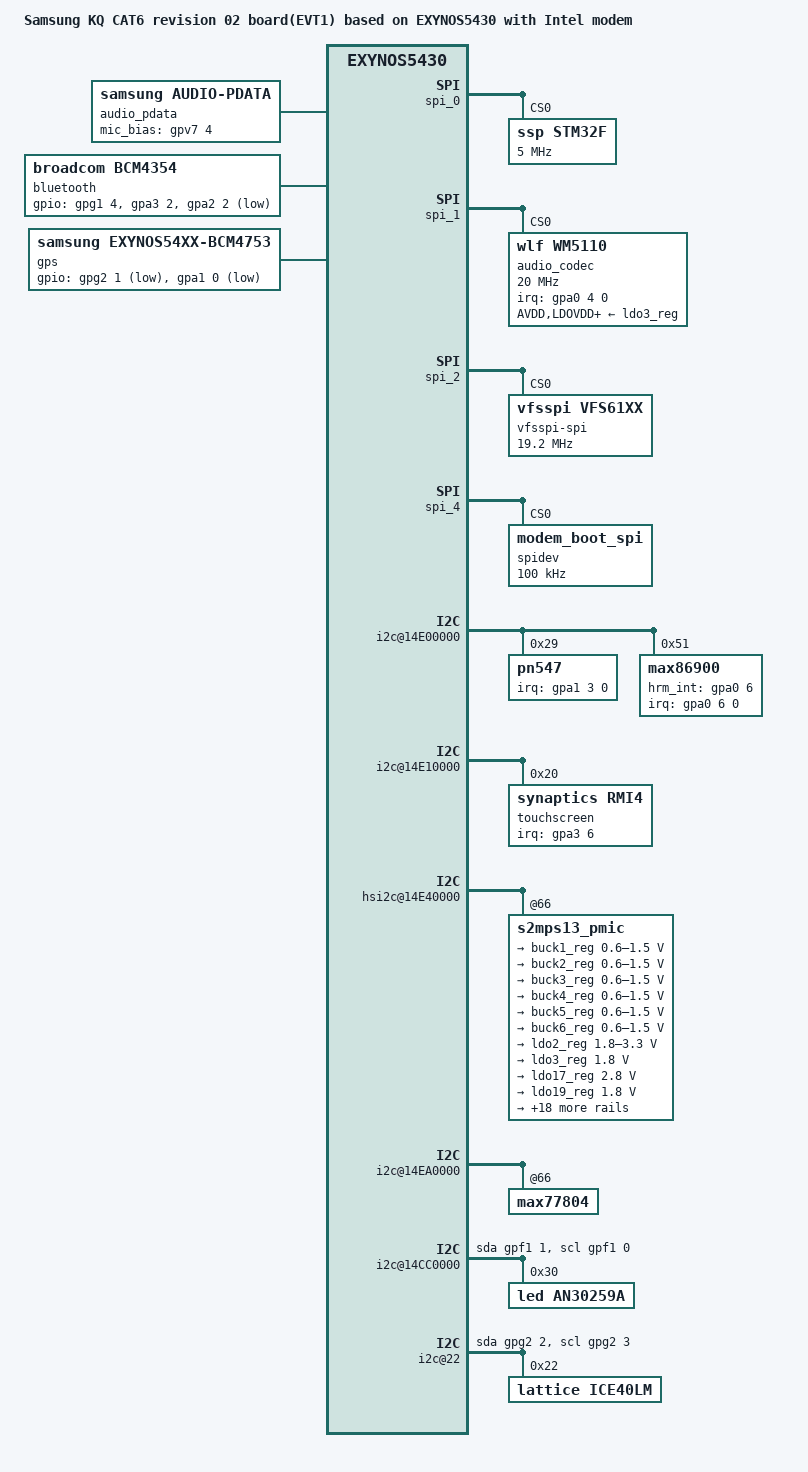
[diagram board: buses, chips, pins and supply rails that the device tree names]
/*
 * SAMSUNG UNIVERSAL5430 board device tree source
 *
 * Copyright (c) 2013 Samsung Electronics Co., Ltd.
 *		http://www.samsung.com
 *
 * This program is free software; you can redistribute it and/or modify
 * it under the terms of the GNU General Public License version 2 as
 * published by the Free Software Foundation.
*/

/dts-v1/;
#include "exynos5430-kq_common.dtsi"
#include "exynos5430-kcat6_gpio_02.dtsi"
#include "exynos5430-kcat6_battery.dtsi"
#include "exynos5430-kcat6_eur-modem-xmm7260.dtsi"
#include "exynos5430-kcat6_mhl2x.dtsi"

/ {
	model = "Samsung KQ CAT6 revision 02 board(EVT1) based on EXYNOS5430 with Intel modem";
	model_info-chip = <5430>;
	model_info-platform = "kcat6";
	model_info-subtype = "kcat6_eur_open";
	model_info-hw_rev = <2>;
	model_info-hw_rev_end = <255>; /* If add new dts file for new hw , it is set to <x>. x is suppored max system revision by this dts */
	compatible = "samsung,KQ CAT6 EUR,r02", "samsung,exynos5430";

	dwmmc2@15560000 {
		supports-sdr104-mode;
		vmmc-en-gpio = <&gpf3 4 0x1>;
	};

	pinctrl@14CC0000 {
		spi0_bus: spi0-bus {
			samsung,pin-drv = <3>;
		};
		spi0_cs: spi0-cs {
			samsung,pin-drv = <3>;
		};
	};

	pinctrl@15690000 {
		sd2_bus1: sd2-bus-width1 {
			samsung,pin-drv = <1>;
		};
		sd2_bus4: sd2-bus-width4 {
			samsung,pin-drv = <1>;
		};
	};

	spi_0: spi@14d20000 {
		#address-cells = <1>;
		#size-cells = <0>;
		pinctrl-names = "default";
		pinctrl-0 = <&spi0_bus>;
		pinctrl-1 = <&spi0_cs>;

		STM32F@0 {
			compatible = "ssp,STM32F";
			reg = <0>;
			spi-max-frequency = <5000000>;
			pinctrl-names = "default";
			pinctrl-0 = <&ssp_irq &ssp_irq2 &ssp_ap_int &ssp_reset>;

			gpio-controller;
			#gpio-cells = <2>;
			ssp-irq = <&gpa3 3 0x01>;
			ssp-irq2 = <&gpa3 4 0x00>;
			ssp-ap-int = <&gpa3 7 0x00>;
			ssp-reset = <&gpd4 0 0x00>;
			ssp-acc-position = <0>;
			ssp-mag-position = <6>;
			ssp-sns-combination = <0>;
			ssp-ap-rev = <2>;
			ssp-mag-array = <10000 0 0 0 10000 0 0 0 10000>; /* Only for YAS532 */

			controller-data {
				cs-gpio = <&gpd8 1 0>;
				samsung,spi-feedback-delay = <0>;
				};
			};
	};

	spi_1: spi@14d30000 {
		#address-cells = <1>;
		#size-cells = <0>;
		pinctrl-names = "default";
		pinctrl-0 = <&spi1_bus>;

		audio_codec: wm5110@0 {
			compatible = "wlf,wm5110";
			reg = <0x0>;
			spi-max-frequency = <20000000>;
			interrupts = <4 0 0>;
			interrupt-parent = <&gpa0>;

			gpio-controller;
			#gpio-cells = <2>;

			pinctrl-names ="default";
			pinctrl-0 = <&codec_reset &codec_ldoena &audio_ctrl>;

			wlf,reset = <&gpv7 3 0>;
			wlf,ldoena = <&gpf0 0 0>;
			wlf,init-mic-delay = <30>;
			wlf,micd-detect-debounce = <300>;
			wlf,micd-bias-start-time = <0x1>;
			wlf,micd-rate = <0x7>;
			wlf,micd-dbtime = <0x1>;
			wlf,micd-timeout = <1000>;
			wlf,micd-force-micbias;
			wlf,micd-ranges = <
				139 226
				295 115
				752 114
				1257 217
			>;

			wlf,micd-configs = <
				0x0 1 0
			>;

			wlf,micbias1 = <2800 0 1 0 0>;
			wlf,micbias2 = <1800 0 1 0 0>;
			wlf,micbias3 = <1800 0 1 0 0>;

			wlf,gpio-defaults = <
				0xA101
				0xA101
				0xA101
				0xA101
				0x8101
			>;

			wlf,gpsw = <0x3>;
			wlf,micd-software-compare;
			wlf,micd-open-circuit-declare = <1>;

			wlf,max-channels-clocked = <2 0 0>;
			/* 0:MICVDD 1:MICBIAS1 2:MICBIAS2 3:MICBIAS3 */
			wlf,dmic-ref = <2 1 3 0>;
			/* 1st cell:IN1 2rd cell:IN2 3nd cell:IN3 4th cell:IN4 */
			wlf,inmode = <2 0 2 0>;

			AVDD-supply = <&ldo3_reg>;
			LDOVDD-supply = <&ldo3_reg>;
			DBVDD1-supply = <&ldo3_reg>;

			CPVDD-supply = <&ldo3_reg>;
			DBVDD2-supply = <&ldo3_reg>;
			DBVDD3-supply = <&ldo3_reg>;
			SPKVDDL-supply = <&ldo3_reg>;
			SPKVDDR-supply = <&ldo3_reg>;

			adsps {
				#address-cells = <1>;
				#size-cells = <0>;

				adsp@1100 {
					reg = <0x1100>;
					firmware {
						EDAC {
							wlf,wmfw-file = "edac";
							wlf,bin-file = "edac";
						};
						TRACE {
							wlf,wmfw-file = "trace";
							wlf,compr-caps = <1 8 0x4 1 8000 16000 24000>;
						};
					};
				};
				adsp@1200 {
					reg = <0x1200>;
					firmware {
						TX_NB {
							wlf,wmfw-file = "tx-nb";
						};
						TX_WB {
							wlf,wmfw-file = "tx-wb";
						};
						TX_SWB_INTERVIEW {
							wlf,wmfw-file = "tx-swb";
						};
						TX_SWB_CONVERSATION {
							wlf,wmfw-file = "tx-swb";
						};
					};
				};
				adsp@1300 {
					reg = <0x1300>;
					firmware {
						TX_NB {
							wlf,wmfw-file = "tx-nb";
							wlf,bin-file = "tx-nb";
						};
						TX_WB {
							wlf,wmfw-file = "tx-wb";
							wlf,bin-file = "tx-wb";
						};
						TX_SWB_INTERVIEW {
							wlf,wmfw-file = "tx-swb";
							wlf,bin-file = "tx-swb-interview";
						};
						TX_SWB_CONVERSATION {
							wlf,wmfw-file = "tx-swb";
							wlf,bin-file = "tx-swb-conversation";
						};
						VOICECONTROL {
							wlf,wmfw-file = "ez2-control";
							wlf,bin-file = "ez2-control";
						};
						LPSD {
							wlf,wmfw-file = "ez2-control";
							wlf,bin-file = "lpsd-control";
						};
					};
				};
				adsp@1400 {
					reg = <0x1400>;
					firmware {
						RX_NB {
							wlf,wmfw-file = "rx-anc-nb";
							wlf,bin-file = "rx-anc-nb";
						};
						RX_WB {
							wlf,wmfw-file = "rx-anc-wb";
							wlf,bin-file = "rx-anc-wb";
						};
					};
				};
			};
			controller-data {
				cs-gpio = <&gpd6 3 0>;
				samsung,spi-feedback-delay = <0>;
			};
		};
	};

	pinctrl@10580000 {
		btp_irq: btp-irq {
			samsung,pins = "gpa1-7";
			samsung,pin-function = <0>;
			samsung,pin-pud = <3>;
			samsung,pin-drv = <3>;
		};
		btp_irqsleep: btp-irqsleep {
			samsung,pins = "gpa1-7";
			samsung,pin-function = <0>;
			samsung,pin-pud = <1>;
			samsung,pin-drv = <0>;
		};
	};
	pinctrl@14CC0000 {
		ocp_flag: ocf-flag {
			samsung,pins = "gpf0-3";
			samsung,pin-function = <0>;
			samsung,pin-pud = <3>;
			samsung,pin-drv = <3>;
		};
		ocp_en: ocp-en {
			samsung,pins = "gpd4-1";
			samsung,pin-function = <1>;
			samsung,pin-pud = <1>;
			samsung,pin-drv = <0>;
		};
		btp_reset: btp-reset {
			samsung,pins = "gpf5-2";
			samsung,pin-function = <1>;
			samsung,pin-pud = <1>;
			samsung,pin-drv = <0>;
		};
		btp_ldo: btp-ldo {
			samsung,pins = "gpf4-0";
			samsung,pin-function = <1>;
			samsung,pin-pud = <1>;
			samsung,pin-drv = <0>;
		};
		spi2_bus: spi2-bus {
			samsung,pin-drv = <3>;
		};

		spi2_cs: spi2-cs {
			samsung,pin-drv = <3>;
		};
	};
	spi_2: spi@14d40000 {
		/delete-property/ dma-mode;
		/delete-property/ dmas;
		/delete-property/ dma-names;
		#address-cells = <1>;
		#size-cells = <0>;
		pinctrl-names = "default";
		pinctrl-0 = <&spi2_bus>;

		vfsspi-spi@0 {
			compatible = "vfsspi,vfs61xx";
			reg = <0>;
			spi-max-frequency = <19200000>;
			pinctrl-names = "default", "sleep", "idle";
			pinctrl-0 = <&btp_irqsleep &btp_reset &btp_ldo &ocp_flag &ocp_en>;
			pinctrl-1 = <&btp_irqsleep>;
			pinctrl-2 = <&btp_irq>;

			gpio-controller;
			#gpio-cells = <2>;

			vfsspi-sleepPin = <&gpf5 2 0x00>;
			vfsspi-drdyPin = <&gpa1 7 0x00>;
			vfsspi-ldoPin = <&gpf4  0 0x00>;
			vfsspi-ocpen = <&gpd4  1 0x00>;
			/* vfsspi-ocpflag = <&gpf0 3 0x00>; */
			vfsspi-orient = <1>;
			vfsspi-ldocontrol = <1>;
			vfsspi-irqpincon = <2>; /* 1: K3G(5422), 2: KQ(5430) */

			controller-data {
				cs-gpio = <&gpd5 1 0 0 3>;
				samsung,spi-feedback-delay = <0>;
			};
		};
	};

	spi_4: spi@141b0000 {
		fimc-is-spi;
		domain = "cam1";
		samsung,power-domain = <&pd_cam1>;

		#address-cells = <1>;
		#size-cells = <0>;

		spidev@0 {
			#address-cells = <1>;
			#size-cells = <1>;
			compatible = "modem_boot_spi";
			reg = <0x0>;
			spi-max-frequency = <100000>;

			controller-data {
				samsung,spi-feedback-delay = <0>;
				samsung,spi-chip-select-mode = <1>;
			};
		};
	};

	mipi-lli@10F24000 {
		reg = <0x10F24000 0x4000>,
		      <0x10F34000 0x4000>,
		      <0x10FD0000 0x2000>,
		      <0x105C0720 0x4>;
		modem-name = "xmm7260";
		modems {
			xmm7260 {
				/* shared memory size for IPC */
				shdmem_size = <8>;
				/* is the shdmem allocated by ion */
				is_ion_alloc = <1>;
				/* disable scrambler */
				scrambler = <0>;
				/* do not control automode by AP */
				automode = <0>;
			};
		};
		mphy {
			modem-name = "xmm7260";
			modems {
				xmm7260 {
					/* initial-gear is HS-G1 */
					init-gear = <2 1 1>;
					/* use shared reference clock for MPHY */
					shd-refclk = <1>;
				};
			};
		};
	};

	audio_pdata {
		compatible = "samsung,audio-pdata";

		mic_bias_gpio = <&gpv7 4 0>;
		imp_shift = <56>;
		status = "okay";
	};

	pinctrl@14CC0000 {
		codec_reset: codec-reset {
			samsung,pins ="gpv7-3";
			samsung,pin-function = <1>;
			samsung,pin-pud = <1>;
			samsung,pin-con-pdn =<3>;
			samsung,pin-pud-pdn = <1>;
		};
		codec_ldoena: codec-ldoena {
			samsung,pins ="gpf0-0";
			samsung,pin-con-pdn =<3>;
		};
		audio_ctrl: audio-ctl {
			samsung,pins ="gpv7-4";
			samsung,pin-con-pdn =<3>;
		};
	};

	i2c@14E00000 {
		samsung,i2c-sda-delay = <100>;
		samsung,i2c-max-bus-freq = <400000>;
		#address-cells = <1>;
		#size-cells = <0>;
		status = "okay";

		pn547@2b {
			compatible = "pn547";
			reg = <0x29>;

			interrupts = <3 0 0>;
			interrupt-parent = <&gpa1>;

			pn547-en = <&gpf1 4 0>;
			pn547-irq = <&gpa1 3 0>;
			pn547-firmware = <&gpj0 2 0>;
			pn547-clk-req = <&gpa0 0 0xf>;
			pn547-clk-use = <2>;
			pinctrl-names = "default";
			pinctrl-0 = <&fimc_is_ch1_mclk>;
			clock-names = "sclk_isp_sensor1",
						"mout_sclk_isp_sensor1",
						"dout_sclk_isp_sensor1_a",
						"dout_sclk_isp_sensor1_b",
						"gate_top_cam1";
			clocks = <&clock 34>,
					<&clock 3067>,
					<&clock 4092>,
					<&clock 4093>,
					<&clock 2780>;
		};

		max86900@51 {
			compatible = "max86900";
			reg = <0x51>;
			pinctrl-names = "default";
			pinctrl-0 = <&hrm_int>;
			interrupt-parent = <&gpa0>;
			interrupts = <6 0 0>;
			max86900,hrm_int-gpio = <&gpa0 6 0x00>;
			max86900,hrm_vled = "V_HRM_3.3V";
		};
	};

	pinctrl@10580000 {
		ok_sw: ok-sw {
			samsung,pins = "gpa0-3";
			samsung,pin-function = <0>;
			samsung,pin-pud = <3>;
			samsung,pin-drv = <0>;
		};
		attn_irq: attn-irq {
			samsung,pins = "gpa3-6";
			samsung,pin-function = <0xf>;
			samsung,pin-pud = <0>;
			samsung,pin-drv = <0>;
		};
		attn_input: attn-input {
			samsung,pins = "gpa3-6";
			samsung,pin-function = <0>;
			samsung,pin-pud = <1>;
			samsung,pin-drv = <0>;
		};
	};

	pinctrl@14CE0000 {
		i2c1_bus: i2c1-bus {
			samsung,pins = "gpj1-1", "gpj1-0";
			samsung,pin-function = <3>;
			samsung,pin-pud = <0>;
			samsung,pin-drv = <0>;
		};
		i2c_pdn_off: i2c-pdn_off {
			samsung,pins = "gpj1-1", "gpj1-0";
			samsung,pin-con-pdn = <2>;
			samsung,pin-pud-pdn = <1>;
		};
	};

	i2c@14E10000 {
		samsung,i2c-sda-delay = <100>;
		samsung,i2c-max-bus-freq = <400000>;
		status = "okay";
		touchscreen@20 {
			compatible = "synaptics,rmi4";
			reg = <0x20>;
			pinctrl-names = "on_state", "off_state";
			pinctrl-0 = <&attn_irq>;
			pinctrl-1 = <&attn_input &i2c_pdn_off>;
			synaptics,irq_gpio = <&gpa3 6 0>;
			synaptics,irq_type = <8200>;
			synaptics,max_coords = <1079 1919>;	/* x y */
			synaptics,num_lines = <28 16>;		/* rx tx */
			synaptics,regulator_dvdd = "tsp_io";
			synaptics,regulator_avdd = "tsp_avdd";
			synaptics,firmware_name = "tsp_synaptics/synaptics_s5100_a3_k_FHD.fw";
			synaptics,project_name = "KCAT6", "G901F";
		};
	};

	hsi2c@14E40000 {
		s2mps13_pmic@66 {
			regulators {
				buck1_reg: BUCK1 {
					regulator-name = "vdd_mif";
					regulator-min-microvolt = <600000>;
					regulator-max-microvolt = <1500000>;
					regulator-always-on;
					regulator-boot-on;
					regulator-ramp-delay = <12000>;
					regulator-initial-mode = <1>;
				};

				buck2_reg: BUCK2 {
					regulator-name = "vdd_eagle";
					regulator-min-microvolt = <600000>;
					regulator-max-microvolt = <1500000>;
					regulator-always-on;
					regulator-boot-on;
					regulator-ramp-delay = <12000>;
					regulator-initial-mode = <1>;
				};

				buck3_reg: BUCK3 {
					regulator-name = "vdd_kfc";
					regulator-min-microvolt = <600000>;
					regulator-max-microvolt = <1500000>;
					regulator-always-on;
					regulator-boot-on;
					regulator-ramp-delay = <12000>;
					regulator-initial-mode = <1>;
				};

				buck4_reg: BUCK4 {
					regulator-name = "vdd_int";
					regulator-min-microvolt = <600000>;
					regulator-max-microvolt = <1500000>;
					regulator-always-on;
					regulator-boot-on;
					regulator-ramp-delay = <12000>;
					regulator-initial-mode = <1>;
				};

				buck5_reg: BUCK5 {
					regulator-name = "vdd_disp_cam0";
					regulator-min-microvolt = <600000>;
					regulator-max-microvolt = <1500000>;
					regulator-always-on;
					regulator-boot-on;
					regulator-ramp-delay = <12000>;
					regulator-initial-mode = <1>;
				};

				buck6_reg: BUCK6 {
					regulator-name = "vdd_g3d";
					regulator-min-microvolt = <600000>;
					regulator-max-microvolt = <1500000>;
					regulator-always-on;
					regulator-boot-on;
					regulator-ramp-delay = <12000>;
					regulator-initial-mode = <1>;
				};

				ldo2_reg: LDO2 {
					regulator-name = "vqmmc";
					regulator-min-microvolt = <1800000>;
					regulator-max-microvolt = <3300000>;
					regulator-boot-on;
					regulator-ramp-delay = <12000>;
					regulator-initial-mode = <1>;
				};

				ldo3_reg: LDO3 {
					regulator-name = "VDD1_E_1.8V_AP";
					regulator-min-microvolt = <1800000>;
					regulator-max-microvolt = <1800000>;
					regulator-always-on;
					regulator-initial-mode = <3>;
				};

				ldo17_reg: LDO17 {
					regulator-name = "vmmc";
					regulator-min-microvolt = <2800000>;
					regulator-max-microvolt = <2800000>;
				};

				ldo19_reg: LDO19 {
					regulator-name = "VDDA_1.8V_COMP";
					regulator-min-microvolt = <1800000>;
					regulator-max-microvolt = <1800000>;
				};

				ldo21_reg: LDO21 {
					regulator-name = "VT_CAM_1.8V";
					regulator-min-microvolt = <1800000>;
					regulator-max-microvolt = <1800000>;
				};

				ldo22_reg: LDO22 {
					regulator-name = "CAM_IO_1.8V_AP";
					regulator-min-microvolt = <1800000>;
					regulator-max-microvolt = <1800000>;
				};

				ldo23_reg: LDO23 {
					regulator-name = "CAM_SEN_CORE_1.2V_AP";
					regulator-min-microvolt = <1200000>;
					regulator-max-microvolt = <1200000>;
				};

				ldo24_reg: LDO24 {
					regulator-name = "VT_CAM_1.2V";
					regulator-min-microvolt = <1200000>;
					regulator-max-microvolt = <1200000>;
				};

				ldo25_reg: LDO25 {
					regulator-name = "CAM_SEN_A2.8V_AP";
					regulator-min-microvolt = <2800000>;
					regulator-max-microvolt = <2950000>;
				};

				ldo26_reg: LDO26 {
					regulator-name = "CAM_AF_2.8V_AP";
					regulator-min-microvolt = <2800000>;
					regulator-max-microvolt = <2800000>;
				};

				ldo27_reg: LDO27 {
					regulator-name = "VCC_3.0V_LCD_AP";
					regulator-min-microvolt = <3000000>;
					regulator-max-microvolt = <3000000>;
					regulator-boot-on;
				};

				ldo28_reg: LDO28 {
					regulator-name = "VCC_1.8V_LCD_AP";
					regulator-min-microvolt = <1800000>;
					regulator-max-microvolt = <1800000>;
					regulator-boot-on;
				};

				ldo29_reg: LDO29 {
					regulator-name = "VT_CAM_2.8V";
					regulator-min-microvolt = <2800000>;
					regulator-max-microvolt = <2800000>;
				};

				ldo30_reg: LDO30 {
					regulator-name = "tsp_avdd";
					regulator-min-microvolt = <3300000>;
					regulator-max-microvolt = <3300000>;
				};

				ldo31_reg: LDO31 {
					regulator-name = "tsp_io";
					regulator-min-microvolt = <1800000>;
					regulator-max-microvolt = <1800000>;
				};

				ldo32_reg: LDO32 {
					regulator-name = "vtouch_1.8v";
					regulator-min-microvolt = <1800000>;
					regulator-max-microvolt = <1800000>;
				};

				ldo33_reg: LDO33 {
					regulator-name = "vtouch_3.3v";
					regulator-min-microvolt = <3300000>;
					regulator-max-microvolt = <3300000>;
				};

				ldo34_reg: LDO34 {
					regulator-name = "VCC_1.8V_MHL";
					regulator-min-microvolt = <1800000>;
					regulator-max-microvolt = <1800000>;
				};

				ldo36_reg: LDO36 {
					regulator-name = "VSIL_1.2V";
					regulator-min-microvolt = <1200000>;
					regulator-max-microvolt = <1200000>;
				};

				ldo38_reg: LDO38 {
					regulator-name = "VCC_3.0V_MOTOR_AP";
					regulator-min-microvolt = <3000000>;
					regulator-max-microvolt = <3000000>;
				};

				ldo39_reg: LDO39 {
					regulator-name = "V_HRM_1.8V";
					regulator-min-microvolt = <1800000>;
					regulator-max-microvolt = <1800000>;
				};

				ldo40_reg: LDO40 {
					regulator-name = "V_HRM_3.3V";
					regulator-min-microvolt = <3300000>;
					regulator-max-microvolt = <3300000>;
				};
			};
		};
	};

	pinctrl@14CC0000 {
		vibetonz_pwm: vibetonz-pwm {
		      samsung,pins = "gpd2-4";
		      samsung,pin-function = <2>;
		      samsung,pin-pud = <0>;
		      samsung,pin-drv = <0>;
	      };
	};
	i2c@14EA0000 {
		samsung,i2c-sda-delay = <100>;
		samsung,i2c-max-bus-freq = <400000>;
		status = "okay";
		max77804@66 {
			status = "okay";
		};
		max77828@49 {
			status = "disabled";
		};
	};

	pinctrl@114B0000 {
		uart_aud_rts: uart-aud-rts {
			samsung,pins = "gpz1-3";
			samsung,pin-function = <2>;
			samsung,pin-pud = <0>;
			samsung,pin-con-pdn = <1>;
			samsung,pin-pud-pdn = <0>;
		};

		uart_aud_cts: uart-aud-cts {
			samsung,pins = "gpz1-2";
			samsung,pin-function = <2>;
			samsung,pin-pud = <0>;
			samsung,pin-con-pdn = <2>;
			samsung,pin-pud-pdn = <0>;
		};

		uart_aud_rx: uart-aud-rx {
			samsung,pins = "gpz1-1";
			samsung,pin-function = <2>;
			samsung,pin-pud = <0>;
			samsung,pin-con-pdn = <2>;
			samsung,pin-pud-pdn = <0>;
		};

		uart_aud_tx: uart-aud-tx {
			samsung,pins = "gpz1-0";
			samsung,pin-function = <2>;
			samsung,pin-pud = <0>;
			samsung,pin-con-pdn = <1>;
			samsung,pin-pud-pdn = <0>;
		};
	};

	serial@11460000 {
		pinctrl-0 = <&uart_aud_rts &uart_aud_cts &uart_aud_rx &uart_aud_tx>;
                pinctrl-1 = <&uart_aud_rx &uart_aud_tx &uart_aud_bus_idle>;
	};

/*
			samsung,pins = "gpa0-0";

			samsung,pin-function = <2>;
			0 : input, 1 : output 2 : special_function

			samsung,pin-pud = <0>;
			0 : reserved 1 : pull down 2 : reserved 3 : pull up

			samsung,pin-con-pdn = <2>;
			0 : output0 1 : output1 2: input 3: previous state

			samsung,pin-pud-pdn = <0>;
			0 : pull up/down disable 1 : pull down 2 : reserved 3 : pull up
*/

	pinctrl@14CC0000 {
		cfg_en: cfg-en {
			samsung,pins ="gpg1-4";
			samsung,pin-function = <1>;
			samsung,pin-pud = <1>;
			samsung,pin-con-pdn = <3>;
			samsung,pin-pud-pdn = <1>;
		};
	};

	pinctrl@10580000{
		cfg_hostwake: cfg-hostwake {
			samsung,pins = "gpa2-2";
			samsung,pin-function = <0>;
			samsung,pin-pud = <2>;
			samsung,pin-con-pdn = <2>;
			samsung,pin-pud-pdn = <0>;
		};

		cfg_btwake: cfg-btwake {
			samsung,pins = "gpa3-2";
			samsung,pin-function = <1>;
			samsung,pin-pud = <1>;
			samsung,pin-con-pdn = <0>;
			samsung,pin-pud-pdn = <1>;
		};
	};

	bluetooth {
		compatible = "broadcom,bcm4354";

		gpios = <&gpg1 4 0	/*BT_EN*/
				&gpa3 2 0	/*BT_WAKE*/
				&gpa2 2 0xF	/*BT_HOST_WAKE*/ >;

		pinctrl-names = "default";
		pinctrl-0=<&cfg_hostwake &cfg_btwake &cfg_en>;
		status = "okay";
	};

	pinctrl@14CC0000 {
		uart0_rts: uart0-rts {
			samsung,pins = "gpd0-3";
			samsung,pin-function = <2>;
			samsung,pin-pud = <0>;
			samsung,pin-con-pdn = <1>;
			samsung,pin-pud-pdn = <0>;
		};

		uart0_cts: uart0-cts {
			samsung,pins = "gpd0-2";
			samsung,pin-function = <2>;
			samsung,pin-pud = <0>;
			samsung,pin-con-pdn = <2>;
			samsung,pin-pud-pdn = <1>;
		};

		uart0_tx: uart0-tx {
			samsung,pins = "gpd0-1";
			samsung,pin-function = <2>;
			samsung,pin-pud = <0>;
			samsung,pin-con-pdn = <2>;
			samsung,pin-pud-pdn = <3>;		};

		uart0_rx: uart0-rx {
			samsung,pins = "gpd0-0";
			samsung,pin-function = <2>;
			samsung,pin-pud = <3>;
			samsung,pin-con-pdn = <2>;
			samsung,pin-pud-pdn = <3>;
		};
	};

	serial@14C10000 {
		pinctrl-0 = <&uart0_rts &uart0_cts &uart0_tx &uart0_rx>;
	};

	gps {
		compatible = "samsung,exynos54xx-bcm4753";
		gpios = <&gpg2 1 0x1
			      &gpa1 0 0xf
				>;
		status = "okay";
	};

	usb_notifier {
		gpios_redriver_en = <&gpf3 2 0x1>; /* USB3.0_REDRIVER_EN */
	};

	i2c@14CC0000 {
		compatible = "i2c-gpio";
		gpios = <&gpf1 1 0 /* sda */
			&gpf1 0 0 /* scl */
			>;
		i2c-gpio,delay-us = <2>;
		#address-cells = <1>;
		#size-cells = <0>;
		status = "okay";
		an30259a@30 {
			compatible = "led,an30259a";
			reg = <0x30>;
			rgb-name = "led_r", "led_g", "led_b";
			rgb-brightness = <0x0 0x0 0x0>;
			rgb-maxbrightness = <0x28 0x28 0x28>;
			rgb-flags = <0 0 0>;
		};
	};

	i2c@22 {
		compatible = "i2c-gpio";
		gpios = <&gpg2 2 0 /* sda */
			&gpg2 3 0 /* scl */
			>;
		i2c-gpio,delay-us = <2>;
		#address-cells = <1>;
		#size-cells = <0>;
		status = "okay";
		ice40lm@22 {
			compatible = "lattice,ice40lm";
			reg = <0x22>;
			ice40lm,creset_b = <&gpv7 1 0>;
			ice40lm,cdone = <&gpf0 1 0>;
			ice40lm,irda_irq = <&gpf0 4 0>;
			ice40lm,spi_si_sda = <&gpg2 2 0>;
			ice40lm,spi_clk_scl = <&gpg2 3 0>;
			ice40lm,spi_en_rstn = <&gpd4 2 0>;
			ice40lm,ir_en = <&gpf2 2 0>;
			ice40lm,power = "LDO";
			clocks = <&clock 5050>;
			clock-names = "gate_clkout";
		};
	};

	sec_thermistor {
		adc_array = <225 234 244 253 263 272 284 295 307 318
			330 344 358 371 385 399 415 432 448 465
			481 500 519 538 557 576 594 613 631 650
			668 696 724 752 780 808 834 860 887 913
			939 970 1002 1033 1065 1096 1133 1169 1206 1242
			1279 1323 1366 1410 1453 1497 1538 1578 1619 1659
			1700 1748 1796 1845 1893 1941 1988 2034 2081 2127
			2174 2223 2271 2320 2368 2417 2465 2513 2560 2608
			2656 2702 2747 2793 2839 2884 2927 2969 3012 3055
			3098 3136 3174 3213 3251 3289 3329 3370 3410 3450
			3490 3530 3569 3609 3648 3688 3727 3767 3804 3843
			3882>;
		temp_array = <900 890 880 870 860 850 840 830 820 810
			800 790 780 770 760 750 740 730 720 710
			700 690 680 670 660 650 640 630 620 610
			600 590 580 570 560 550 540 530 520 510
			500 490 480 470 460 450 440 430 420 410
			400 390 380 370 360 350 340 330 320 310
			300 290 280 270 260 250 240 230 220 210
			200 190 180 170 160 150 140 130 120 110
			100 90 80 70 60 50 40 30 20 10
			0 (-10) (-20) (-30) (-40) (-50) (-60) (-70) (-80) (-90)
			(-100) (-110) (-120) (-130) (-140) (-150) (-160) (-170) (-180) (-190)
			(-200)>;
	};

	/* disp_driver */
	decon_fb: decon_fb {
		lcd_info = <&s6e3fa2>;

		s6e3fa2: s6e3fa2_fhd {
			mode = <0>;
			resolution = <1080 1920>;
			size = <65 115>;
			timing,refresh = <60>;
			timing,h-porch = <1 1 1>;
			timing,v-porch = <15 1 1>;
			timing,dsi-hs-clk = <896>;
			timing,dsi-escape-clk = <16>;
			timing,hsync-2h-cycle = <1>;
			mic = <1>;
		};
	};

	fimc_is@14000000 {
		fimc_is_dvfs {
			default_int = <543000>; /* L0 */
			default_cam = <777000>; /* L0 */
			default_mif = <825000>; /* L0 */
			default_i2c = <0>;

			front_preview_int = <267000>; /* L2 */
			front_preview_cam = <222000>; /* L7 */
			front_preview_mif = <413000>; /* L3 */
			front_preview_i2c = <0>;

			front_capture_int = <267000>; /* L2 */
			front_capture_cam = <222000>; /* L7 */
			front_capture_mif = <413000>; /* L3 */
			front_capture_i2c = <0>;

			front_camcording_int = <267000>; /* L2 */
			front_camcording_cam = <222000>; /* L7 */
			front_camcording_mif = <413000>; /* L3 */
			front_camcording_i2c = <0>;

			front_vt1_int = <267000>; /* L2 */
			front_vt1_cam = <222000>; /* L7 */
			front_vt1_mif = <413000>; /* L3 */
			front_vt1_i2c = <0>;

			front_vt2_int = <267000>; /* L2 */
			front_vt2_cam = <222000>; /* L7 */
			front_vt2_mif = <413000>; /* L3 */
			front_vt2_i2c = <0>;

			rear_preview_fhd_int = <317000>; /* L1 */
			rear_preview_fhd_cam = <333000>; /* L6 */
			rear_preview_fhd_mif = <413000>; /* L3 */
			rear_preview_fhd_i2c = <0>;

			rear_preview_whd_int = <317000>; /* L1 */
			rear_preview_whd_cam = <333000>; /* L6 */
			rear_preview_whd_mif = <825000>; /* L0 */
			rear_preview_whd_i2c = <0>;

			rear_preview_uhd_int = <543000>; /* L0_A */
			rear_preview_uhd_cam = <555000>; /* L2 */
			rear_preview_uhd_mif = <825000>; /* L0 */
			rear_preview_uhd_i2c = <0>;

			rear_capture_int = <400000>; /* L0 */
			rear_capture_cam = <666000>; /* L1 */
			rear_capture_mif = <543000>; /* L2 */
			rear_capture_i2c = <0>;

			rear_camcording_fhd_int = <317000>; /* L1 */
			rear_camcording_fhd_cam = <455000>; /* L4 */
			rear_camcording_fhd_mif = <413000>; /* L3 */
			rear_camcording_fhd_i2c = <0>;

			rear_camcording_uhd_int = <543000>; /* L0_A */
			rear_camcording_uhd_cam = <555000>; /* L2 */
			rear_camcording_uhd_mif = <825000>; /* L0 */
			rear_camcording_uhd_i2c = <0>;

			dual_preview_int = <317000>; /* L1 */
			dual_preview_cam = <444000>; /* L5 */
			dual_preview_mif = <413000>; /* L3 */
			dual_preview_i2c = <0>;

			dual_capture_int = <400000>; /* L0 */
			dual_capture_cam = <777000>; /* L0 */
			dual_capture_mif = <633000>; /* L1 */
			dual_capture_i2c = <0>;

			dual_camcording_int = <317000>; /* L1 */
			dual_camcording_cam = <466000>; /* L3 */
			dual_camcording_mif = <543000>; /* L2 */
			dual_camcording_i2c = <0>;

			high_speed_fps_int = <400000>; /* L0 */
			high_speed_fps_cam = <666000>; /* L1 */
			high_speed_fps_mif = <543000>; /* L2 */
			high_speed_fps_i2c = <0>;

			dis_enable_int = <543000>; /* L0 */
			dis_enable_cam = <777000>; /* L0 */
			dis_enable_mif = <825000>; /* L0 */
			dis_enable_i2c = <0>;

			max_int = <543000>; /* L0 */
			max_cam = <777000>; /* L0 */
			max_mif = <825000>; /* L0 */
			max_i2c = <0>;
		};
	};
	gpio_keys {
		pinctrl-names = "default";
		pinctrl-0 = <&ok_sw>;
	};

	ion {
		compatible = "samsung,exynos5430-ion";

		contig-names = "common",
			       "mfc_sh",
			       "g2d_wfd",
			       "video",
			       "sectbl",
			       "mfc_fw",
			       "mfc_nfw",
			       "secdma";

		contig = <0 0x400000 0x0>,
		         <2 0x100000 0x0>,
		         <10 0x800000 0x0>,
		         <11 0x7300000 0x0>,
		         <9 0x100000 0x0>,
		         <8 0x200000 0x0>,
		         <12 0x200000 0x0>,
		         <13 0x20000 0x0>;

		contig-isolate_on_boot = <0>, <2>, <8>,
					  <9>, <10>, <11>, <12>, <13>;

		ion_noncontig_heap {
			id-type = <0 0>;
		};

		exynos_contig_heap {
			id-type = <4 6>;
		};
	};
};
